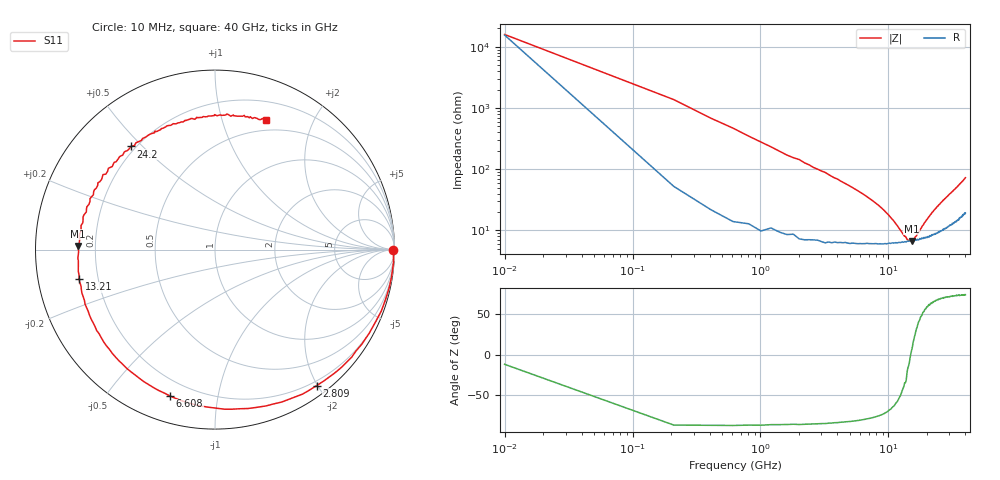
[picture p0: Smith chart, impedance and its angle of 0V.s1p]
!Agilent Technologies,N5227A,US51270434,A.10.00.00
!Agilent N5227A: A.10.00.00
!Date: Monday, January 26, 2026 17:20:48
!Correction: S11(Full 1 Port(1))
!S1P File: Measurement: S11:
# Hz S  dB  R 50
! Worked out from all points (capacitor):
!   201 points, 10 MHz to 40 GHz, reference 50 ohm
!   read as one part to ground: C = 555 fF near 209.9 MHz
!   lowest |Z| = 6.72 ohm at 15.21 GHz (marker M1)
!   series resonance near 14.94 GHz, so ESL is about 200 pH
!   S11 on the Smith chart (normalised r, x): 10 MHz: open; 2.809 GHz: 0.14, -1.99; 6.608 GHz: 0.12, -0.73; 13.21 GHz: 0.13, -0.11; 24.2 GHz: 0.18, +0.46; 40 GHz: 0.39, +1.40
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1e7  -0.05 -0.1
6.0985e8  -0.05 -12.2
1.00975e9  -0.11 -20.3
1.6096e9  -0.24 -32.7
2.0095e9  -0.27 -38.3
2.20945e9  -0.33 -42.9
2.8093e9  -0.48 -53.2
3.2092e9  -0.53 -58.8
3.6091e9  -0.66 -66.4
4.4089e9  -0.88 -78.4
5.00875e9  -1.00 -86.6
6.60835e9  -1.38 -107.0
8.20795e9  -1.66 -124.8
1.00075e10  -1.92 -142.2
1.16071e10  -2.10 -155.8
1.32067e10  -2.22 -167.7
1.36066e10  -2.26 -169.4
1.40065e10  -2.31 -173.8
1.500625e10  -2.37 179.6
1.52062e10  -2.34 178.5
1.72057e10  -2.41 166.1
2.0005e10  -2.49 150.3
2.420395e10  -2.59 129.2
2.500375e10  -2.63 125.9
2.700325e10  -2.61 116.9
3.00025e10  -2.67 104.8
3.500125e10  -2.49 86.1
4e10  -2.21 68.3
